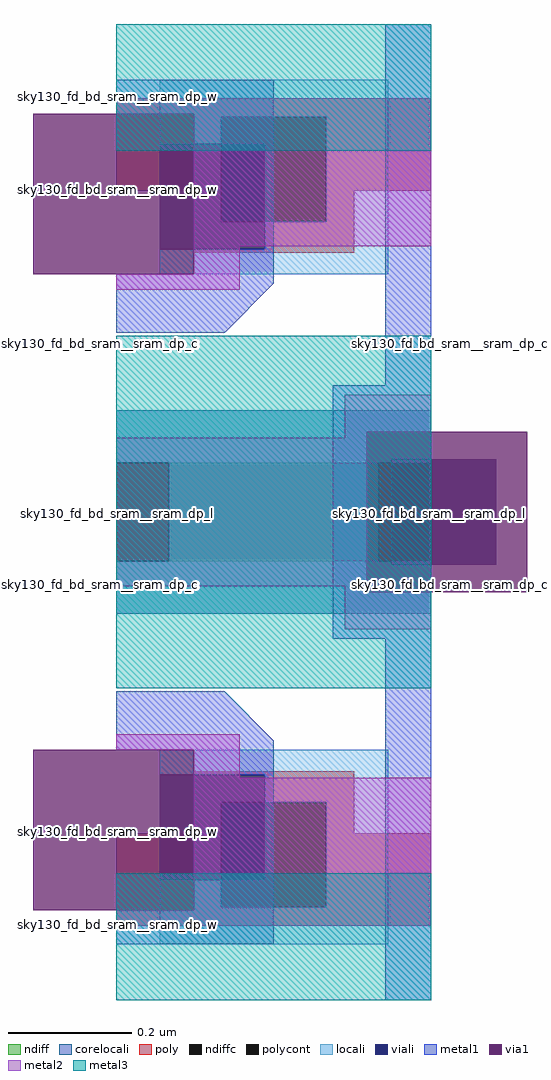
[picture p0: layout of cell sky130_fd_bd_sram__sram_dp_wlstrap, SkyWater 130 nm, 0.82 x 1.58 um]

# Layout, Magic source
magic
tech sky130A
magscale 1 2
<< ndiff >>
rect 17 142 85 174
<< ndiffc >>
rect 0 142 17 174
rect 85 142 102 174
<< corelocali >>
rect 0 175 102 191
rect 0 174 89 175
rect 17 142 85 174
rect 0 141 89 142
rect 0 125 102 141
<< viali >>
rect 89 174 123 175
rect 89 142 102 174
rect 102 142 123 174
rect 89 141 123 142
<< metal1 >>
rect 87 199 102 316
rect 70 184 102 199
rect 70 132 81 184
rect 70 117 102 132
rect 87 0 102 117
<< via1 >>
rect 81 175 133 184
rect 81 141 89 175
rect 89 141 123 175
rect 123 141 133 175
rect 81 132 133 141
<< metal2 >>
rect 74 184 102 196
rect 74 182 81 184
rect 0 134 81 182
rect 74 132 81 134
rect 74 120 102 132
<< metal3 >>
rect 0 101 102 215
use sky130_fd_bd_sram__sram_dp_licon_05  sky130_fd_bd_sram__sram_dp_licon_05_0
transform 0 1 0 -1 0 158
box 0 0 1 1
use sky130_fd_bd_sram__sram_dp_licon_05  sky130_fd_bd_sram__sram_dp_licon_05_1
transform 0 -1 102 -1 0 158
box 0 0 1 1
use sky130_fd_bd_sram__sram_dp_wls_half  sky130_fd_bd_sram__sram_dp_wls_half_0
transform 1 0 -20 0 1 0
box -7 0 122 100
use sky130_fd_bd_sram__sram_dp_wls_half  sky130_fd_bd_sram__sram_dp_wls_half_1
transform 1 0 -20 0 -1 316
box -7 0 122 100
use sky130_fd_bd_sram__sram_dp_wls_p1m_siz  sky130_fd_bd_sram__sram_dp_wls_p1m_siz_0
transform 1 0 51 0 1 24
box -81 0 81 269
<< properties >>
string GDS_FILE sky130_fd_bd_sram__sram_dp_wlstrap.gds
string GDS_END 5212
string GDS_START 4000
<< end >>

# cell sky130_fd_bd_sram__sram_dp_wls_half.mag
magic
tech sky130A
magscale 1 2
<< poly >>
rect 45 64 97 74
rect 45 54 54 64
rect 20 30 54 54
rect 88 54 97 64
rect 88 30 122 54
rect 20 24 122 30
<< polycont >>
rect 54 30 88 64
<< locali >>
rect 34 73 108 81
rect 68 64 108 73
rect 34 30 54 39
rect 88 30 108 64
rect 34 18 108 30
<< viali >>
rect 34 64 68 73
rect 34 39 54 64
rect 54 39 68 64
<< metal1 >>
rect 20 84 55 100
tri 55 84 71 100 sw
rect 20 81 71 84
rect 45 73 71 81
rect 68 39 71 73
rect 45 29 71 39
rect 20 18 71 29
<< via1 >>
rect -7 73 45 81
rect -7 39 34 73
rect 34 39 45 73
rect -7 29 45 39
<< metal2 >>
rect 20 81 60 86
rect 45 72 60 81
rect 45 29 122 72
rect 20 24 122 29
<< metal3 >>
rect 20 0 122 41
<< properties >>
string GDS_FILE sky130_fd_bd_sram__sram_dp_wls_half.gds
string GDS_END 846
string GDS_START 162
<< end >>

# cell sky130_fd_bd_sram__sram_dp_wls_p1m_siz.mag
magic
tech sky130A
magscale 1 2
use sky130_fd_bd_sram__sram_dp_wls_poly_sizing_opta  sky130_fd_bd_sram__sram_dp_wls_poly_sizing_opta_0
transform 1 0 -51 0 1 268
box 0 0 1 1
use sky130_fd_bd_sram__sram_dp_wls_poly_sizing_optb  sky130_fd_bd_sram__sram_dp_wls_poly_sizing_optb_0
transform 1 0 -51 0 1 238
box 0 0 1 1
use sky130_fd_bd_sram__sram_dp_wls_poly_sizing_optc  sky130_fd_bd_sram__sram_dp_wls_poly_sizing_optc_0
transform 1 0 -51 0 1 30
box 0 0 1 1
use sky130_fd_bd_sram__sram_dp_wls_p1m_ser  sky130_fd_bd_sram__sram_dp_wls_p1m_ser_0
transform -1 0 85 0 1 188
box 4 0 5 1
use sky130_fd_bd_sram__sram_dp_wls_p1m_ser  sky130_fd_bd_sram__sram_dp_wls_p1m_ser_1
transform -1 0 85 0 1 110
box 4 0 5 1
use sky130_fd_bd_sram__sram_dp_wls_p1m_ser  sky130_fd_bd_sram__sram_dp_wls_p1m_ser_2
transform 1 0 -85 0 1 110
box 4 0 5 1
use sky130_fd_bd_sram__sram_dp_wls_p1m_ser  sky130_fd_bd_sram__sram_dp_wls_p1m_ser_3
transform 1 0 -85 0 1 188
box 4 0 5 1
use sky130_fd_bd_sram__sram_dp_wls_poly_sizing_optd  sky130_fd_bd_sram__sram_dp_wls_poly_sizing_optd_0
transform 1 0 -51 0 1 0
box 0 0 1 1
<< properties >>
string GDS_FILE sky130_fd_bd_sram__sram_dp_wls_p1m_siz.gds
string GDS_END 3050
string GDS_START 2474
<< end >>

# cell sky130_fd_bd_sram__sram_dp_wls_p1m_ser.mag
magic
tech sky130A
magscale 1 2
use sky130_fd_bd_sram__sram_dp_cell_poly_srf_opta  sky130_fd_bd_sram__sram_dp_cell_poly_srf_opta_0
transform -1 0 5 0 1 0
box 0 0 1 1
<< properties >>
string GDS_FILE sky130_fd_bd_sram__sram_dp_wls_p1m_ser.gds
string GDS_END 532
string GDS_START 312
<< end >>
